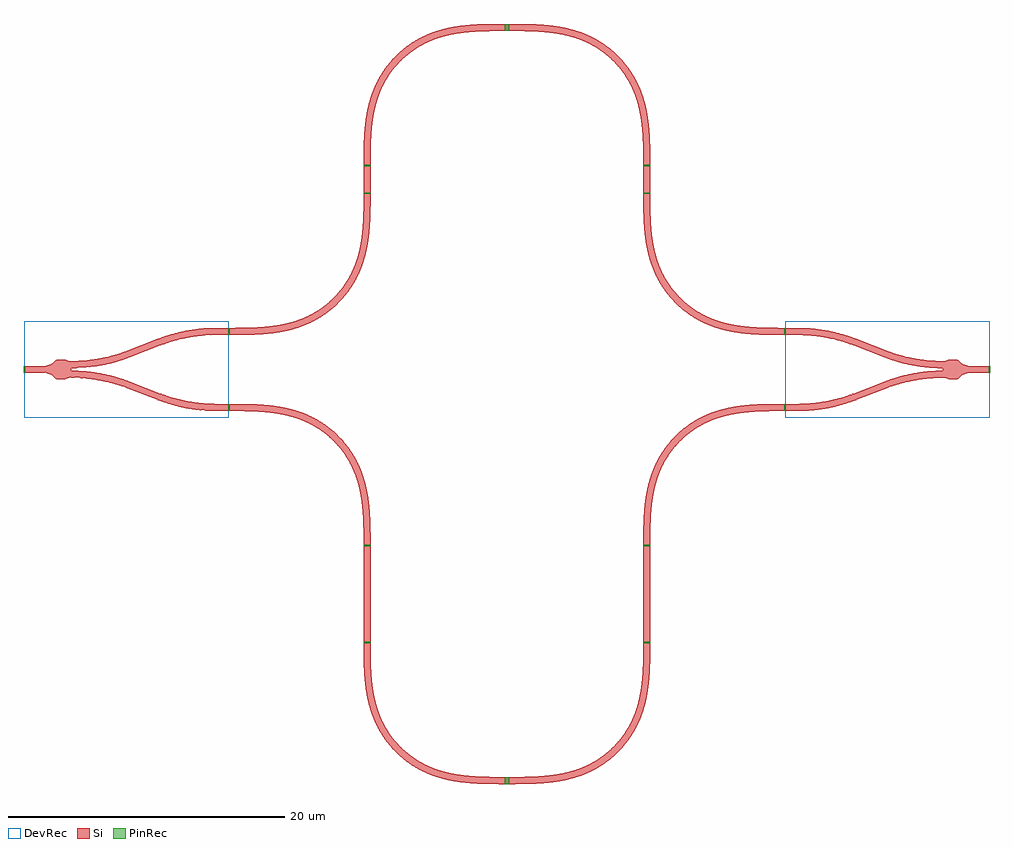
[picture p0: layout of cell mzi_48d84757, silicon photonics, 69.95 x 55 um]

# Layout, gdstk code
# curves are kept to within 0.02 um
from math import pi, radians
import gdstk
lib = gdstk.Library(unit=1e-6, precision=1e-09)
def R(c, l, rs):  # rectangles x0, y0, x1, y1
    for r in rs: c.add(gdstk.rectangle(r[:2], r[2:], *l))
def P(c, l, *ps):  # polygons
    for p in ps: c.add(gdstk.Polygon(p, *l))
Si = (1, 0)
PinRec = (1, 10)
DevRec = (68, 0)

ebeam_y_1550 = lib.new_cell('ebeam_y_1550')
R(ebeam_y_1550, Si, [(6.5,-3,7.4,-2.5), (-7.4,-0.25,-6,0.25), (6.5,2.5,7.4,3)])
P(ebeam_y_1550, Si, [(6.458,-3),(6.237,-2.997),(6.237,-2.497),(6.5,-2.5),(6.5,-3)],
  [(5.033,-2.908),(4.288,-2.79),(3.59,-2.634),(2.922,-2.442),(2.265,-2.21),(2.445,-1.744),(3.075,-1.966),(3.731,-2.154),(5.033,-2.404)],
  [(6.233,-2.997),(5.033,-2.908),(5.033,-2.404),(6.237,-2.497)],
  [(2.265,-2.21),(0.055,-1.356),(0.235,-0.89),(2.445,-1.744)],
  [(-0.762,-1.076),(-1.532,-0.874),(-2.334,-0.724),(-3.178,-0.63),(-4,-0.6),(-4,-0.1),(-3.16,-0.13),(-2.381,-0.212),(-1.565,-0.355),(-0.762,-0.555)],
  [(0.055,-1.356),(-0.762,-1.076),(-0.762,-0.555),(0.235,-0.89)],
  [(6.237,2.497),(6.237,2.997),(6.5,3),(6.5,2.5)],
  [(2.445,1.744),(2.267,2.211),(2.922,2.442),(3.59,2.634),(4.288,2.79),(5.033,2.908),(5.033,2.404),(3.731,2.154),(3.075,1.966)],
  [(5.033,2.404),(5.033,2.908),(6.237,2.997),(6.237,2.497)],
  [(0.235,0.89),(0.055,1.356),(2.265,2.21),(2.445,1.744)],
  [(-4,0.1),(-4,0.6),(-3.178,0.63),(-2.334,0.724),(-1.532,0.874),(-0.762,1.076),(-0.762,0.555),(-1.565,0.355),(-2.381,0.212),(-3.16,0.13)],
  [(-0.762,0.555),(-0.762,1.076),(0.055,1.356),(0.235,0.89)],
  [(-5.122,-0.662),(-5.442,-0.374),(-5.808,-0.255),(-6,-0.25),(-6,0.25),(-5.817,0.253),(-5.442,0.374),(-5.122,0.662)],
  [(-4.957,-0.703),(-5.122,-0.662),(-5.122,0.662),(-4.978,0.702),(-4.538,0.703),(-4.167,0.6),(-4,0.6),(-4,-0.6),(-4.167,-0.6),(-4.509,-0.701)])
R(ebeam_y_1550, DevRec, [(-7.4,-3.5,7.4,3.5)])
ebeam_y_1550.add(gdstk.FlexPath([(-7.35,0),(-7.45,0)], 0.5, ends="flush", simple_path=True, layer=1, datatype=10))  # PinRec
ebeam_y_1550.add(gdstk.FlexPath([(7.35,2.75),(7.45,2.75)], 0.5, ends="flush", simple_path=True, layer=1, datatype=10))  # PinRec
ebeam_y_1550.add(gdstk.FlexPath([(7.35,-2.75),(7.45,-2.75)], 0.5, ends="flush", simple_path=True, layer=1, datatype=10))  # PinRec
ebeam_y_1550.add(gdstk.Label('Ref: Y Zhang, Opt. Express, 21/1, 2013', (-7.5,-1), layer=10, texttype=0))
ebeam_y_1550.add(gdstk.Label('opt2', (7.4,2.75), layer=1, texttype=10))
ebeam_y_1550.add(gdstk.Label('opt3', (7.4,-2.75), layer=1, texttype=10))
ebeam_y_1550.add(gdstk.Label('opt1', (-7.4,0), layer=1, texttype=10))
ebeam_y_1550.add(gdstk.Label('Component=ebeam_y_1550', (-6,1.5), layer=68, texttype=0))
ebeam_y_1550.add(gdstk.Label('Lumerical_INTERCONNECT_library=Design kits/ebeam', (-6.86,-2.19), layer=68, texttype=0))

bend_euler = lib.new_cell('bend_euler')
P(bend_euler, Si, [(0,-0.25),(1.498,-0.236),(2.724,-0.165),(3.761,-0.026),(4.739,0.201),(5.691,0.544),(6.428,0.918),(7.158,1.402),(7.859,2.003),(8.479,2.689),(9.033,3.488),(9.456,4.309),(9.799,5.261),(10.026,6.239),(10.165,7.276),(10.236,8.502),(10.25,10),(9.75,10),(9.727,8.239),(9.634,7.004),(9.463,5.971),(9.18,4.971),(8.884,4.263),(8.508,3.59),(8.088,3),(7.575,2.425),(7,1.912),(6.41,1.492),(5.737,1.116),(5.029,0.82),(4.029,0.537),(2.996,0.366),(1.761,0.273),(0,0.25)])
R(bend_euler, PinRec, [(-0.05,-0.25,0.05,0.25), (9.75,9.95,10.25,10.05)])
P(bend_euler, DevRec, [(0,-0.25),(1.498,-0.236),(2.724,-0.165),(3.761,-0.026),(4.739,0.201),(5.691,0.544),(6.428,0.918),(7.158,1.402),(7.859,2.003),(8.479,2.689),(9.033,3.488),(9.456,4.309),(9.799,5.261),(10.026,6.239),(10.165,7.276),(10.236,8.502),(10.25,10),(9.75,10),(9.727,8.239),(9.634,7.004),(9.463,5.971),(9.18,4.971),(8.884,4.263),(8.508,3.59),(8.088,3),(7.575,2.425),(7,1.912),(6.41,1.492),(5.737,1.116),(5.029,0.82),(4.029,0.537),(2.996,0.366),(1.761,0.273),(0,0.25)])
bend_euler.add(gdstk.FlexPath([(0.05,0),(-0.05,0)], 0.5, ends="flush", simple_path=True, layer=1, datatype=10))  # PinRec
bend_euler.add(gdstk.FlexPath([(10,9.95),(10,10.05)], 0.5, ends="flush", simple_path=True, layer=1, datatype=10))  # PinRec
bend_euler.add(gdstk.Label('o1', (0,0), layer=1, texttype=10))
bend_euler.add(gdstk.Label('o2', (10,10), layer=1, texttype=10))

straight_length7p0 = lib.new_cell('straight_length7p0')
R(straight_length7p0, Si, [(0,-0.25,7,0.25)])
R(straight_length7p0, PinRec, [(-0.05,-0.25,0.05,0.25), (6.95,-0.25,7.05,0.25)])
R(straight_length7p0, DevRec, [(0,-0.25,7,0.25)])
straight_length7p0.add(gdstk.FlexPath([(0.05,0),(-0.05,0)], 0.5, ends="flush", simple_path=True, layer=1, datatype=10))  # PinRec
straight_length7p0.add(gdstk.FlexPath([(6.95,0),(7.05,0)], 0.5, ends="flush", simple_path=True, layer=1, datatype=10))  # PinRec
straight_length7p0.add(gdstk.Label('o1', (0,0), layer=1, texttype=10))
straight_length7p0.add(gdstk.Label('o2', (7,0), layer=1, texttype=10))

straight_length0p1 = lib.new_cell('straight_length0p1')
R(straight_length0p1, Si, [(0,-0.25,0.1,0.25)])
R(straight_length0p1, PinRec, [(-0.05,-0.25,0.05,0.25), (0.05,-0.25,0.15,0.25)])
R(straight_length0p1, DevRec, [(0,-0.25,0.1,0.25)])
straight_length0p1.add(gdstk.FlexPath([(0.05,0),(-0.05,0)], 0.5, ends="flush", simple_path=True, layer=1, datatype=10))  # PinRec
straight_length0p1.add(gdstk.FlexPath([(0.05,0),(0.15,0)], 0.5, ends="flush", simple_path=True, layer=1, datatype=10))  # PinRec
straight_length0p1.add(gdstk.Label('o1', (0,0), layer=1, texttype=10))
straight_length0p1.add(gdstk.Label('o2', (0.1,0), layer=1, texttype=10))

straight_length2p0 = lib.new_cell('straight_length2p0')
R(straight_length2p0, Si, [(0,-0.25,2,0.25)])
R(straight_length2p0, PinRec, [(-0.05,-0.25,0.05,0.25), (1.95,-0.25,2.05,0.25)])
R(straight_length2p0, DevRec, [(0,-0.25,2,0.25)])
straight_length2p0.add(gdstk.FlexPath([(0.05,0),(-0.05,0)], 0.5, ends="flush", simple_path=True, layer=1, datatype=10))  # PinRec
straight_length2p0.add(gdstk.FlexPath([(1.95,0),(2.05,0)], 0.5, ends="flush", simple_path=True, layer=1, datatype=10))  # PinRec
straight_length2p0.add(gdstk.Label('o1', (0,0), layer=1, texttype=10))
straight_length2p0.add(gdstk.Label('o2', (2,0), layer=1, texttype=10))

straight_cbfc39a6 = lib.new_cell('straight_cbfc39a6')
R(straight_cbfc39a6, Si, [(0,-0.25,0.14,0.25)])
R(straight_cbfc39a6, PinRec, [(-0.05,-0.25,0.05,0.25), (0.09,-0.25,0.19,0.25)])
R(straight_cbfc39a6, DevRec, [(0,-0.25,0.14,0.25)])
straight_cbfc39a6.add(gdstk.FlexPath([(0.05,0),(-0.05,0)], 0.5, ends="flush", simple_path=True, layer=1, datatype=10))  # PinRec
straight_cbfc39a6.add(gdstk.FlexPath([(0.09,0),(0.19,0)], 0.5, ends="flush", simple_path=True, layer=1, datatype=10))  # PinRec
straight_cbfc39a6.add(gdstk.Label('o1', (0,0), layer=1, texttype=10))
straight_cbfc39a6.add(gdstk.Label('o2', (0.14,0), layer=1, texttype=10))

straight_2e016c41 = lib.new_cell('straight_2e016c41')
R(straight_2e016c41, Si, [(0,-0.25,2,0.25)])
R(straight_2e016c41, PinRec, [(-0.05,-0.25,0.05,0.25), (1.95,-0.25,2.05,0.25)])
R(straight_2e016c41, DevRec, [(0,-0.25,2,0.25)])
straight_2e016c41.add(gdstk.FlexPath([(0.05,0),(-0.05,0)], 0.5, ends="flush", simple_path=True, layer=1, datatype=10))  # PinRec
straight_2e016c41.add(gdstk.FlexPath([(1.95,0),(2.05,0)], 0.5, ends="flush", simple_path=True, layer=1, datatype=10))  # PinRec
straight_2e016c41.add(gdstk.Label('o1', (0,0), layer=1, texttype=10))
straight_2e016c41.add(gdstk.Label('o2', (2,0), layer=1, texttype=10))

straight_bd60af8b = lib.new_cell('straight_bd60af8b')
R(straight_bd60af8b, Si, [(0,-0.25,0.01,0.25)])
R(straight_bd60af8b, PinRec, [(-0.05,-0.25,0.05,0.25), (-0.04,-0.25,0.06,0.25)])
R(straight_bd60af8b, DevRec, [(0,-0.25,0.01,0.25)])
straight_bd60af8b.add(gdstk.FlexPath([(0.05,0),(-0.05,0)], 0.5, ends="flush", simple_path=True, layer=1, datatype=10))  # PinRec
straight_bd60af8b.add(gdstk.FlexPath([(-0.04,0),(0.06,0)], 0.5, ends="flush", simple_path=True, layer=1, datatype=10))  # PinRec
straight_bd60af8b.add(gdstk.Label('o1', (0,0), layer=1, texttype=10))
straight_bd60af8b.add(gdstk.Label('o2', (0.01,0), layer=1, texttype=10))

straight_bc55636f = lib.new_cell('straight_bc55636f')
R(straight_bc55636f, Si, [(0,-0.25,7,0.25)])
R(straight_bc55636f, PinRec, [(-0.05,-0.25,0.05,0.25), (6.95,-0.25,7.05,0.25)])
R(straight_bc55636f, DevRec, [(0,-0.25,7,0.25)])
straight_bc55636f.add(gdstk.FlexPath([(0.05,0),(-0.05,0)], 0.5, ends="flush", simple_path=True, layer=1, datatype=10))  # PinRec
straight_bc55636f.add(gdstk.FlexPath([(6.95,0),(7.05,0)], 0.5, ends="flush", simple_path=True, layer=1, datatype=10))  # PinRec
straight_bc55636f.add(gdstk.Label('o1', (0,0), layer=1, texttype=10))
straight_bc55636f.add(gdstk.Label('o2', (7,0), layer=1, texttype=10))

mzi_48d84757 = lib.new_cell('mzi_48d84757')
mzi_48d84757.add(gdstk.Reference(ebeam_y_1550, (0,0)))
mzi_48d84757.add(gdstk.Reference(ebeam_y_1550, (55.05,0), rotation=pi, x_reflection=True))
mzi_48d84757.add(gdstk.Reference(bend_euler, (7.4,-2.75), x_reflection=True))
mzi_48d84757.add(gdstk.Reference(straight_length7p0, (17.4,-12.75), rotation=3*pi/2))
mzi_48d84757.add(gdstk.Reference(bend_euler, (17.4,-19.75), rotation=3*pi/2))
mzi_48d84757.add(gdstk.Reference(straight_length0p1, (27.4,-29.75)))
mzi_48d84757.add(gdstk.Reference(bend_euler, (7.4,2.75)))
mzi_48d84757.add(gdstk.Reference(straight_length2p0, (17.4,12.75), rotation=pi/2))
mzi_48d84757.add(gdstk.Reference(bend_euler, (27.4,24.75), rotation=pi))
mzi_48d84757.add(gdstk.Reference(straight_length0p1, (27.4,24.75)))
mzi_48d84757.add(gdstk.Reference(bend_euler, (27.64,24.75), x_reflection=True))
mzi_48d84757.add(gdstk.Reference(bend_euler, (37.64,12.75), rotation=3*pi/2))
mzi_48d84757.add(gdstk.Reference(straight_cbfc39a6, (27.5,24.75)))
mzi_48d84757.add(gdstk.Reference(straight_2e016c41, (37.64,14.75), rotation=3*pi/2))
mzi_48d84757.add(gdstk.Reference(straight_bd60af8b, (47.64,2.75)))
mzi_48d84757.add(gdstk.Reference(bend_euler, (27.64,-29.75)))
mzi_48d84757.add(gdstk.Reference(bend_euler, (37.64,-12.75), rotation=pi/2, x_reflection=True))
mzi_48d84757.add(gdstk.Reference(straight_cbfc39a6, (27.5,-29.75)))
mzi_48d84757.add(gdstk.Reference(straight_bc55636f, (37.64,-19.75), rotation=pi/2))
mzi_48d84757.add(gdstk.Reference(straight_bd60af8b, (47.64,-2.75)))

lib.write_gds('mzi_48d84757.gds')
